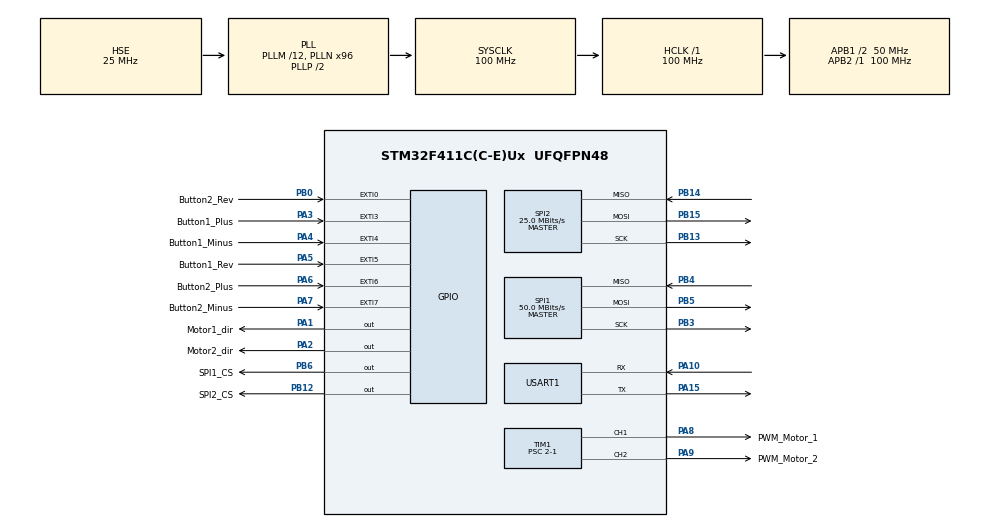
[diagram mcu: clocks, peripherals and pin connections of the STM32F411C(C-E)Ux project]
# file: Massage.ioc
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Dma.Request0=USART1_RX
Dma.Request1=USART1_TX
Dma.USART1_RX.0.Direction=DMA_PERIPH_TO_MEMORY
Dma.USART1_RX.0.FIFOMode=DMA_FIFOMODE_DISABLE
Dma.USART1_RX.0.Instance=DMA2_Stream2
Dma.USART1_RX.0.MemDataAlignment=DMA_MDATAALIGN_BYTE
Dma.USART1_RX.0.MemInc=DMA_MINC_ENABLE
Dma.USART1_RX.0.Mode=DMA_CIRCULAR
Dma.USART1_RX.0.PeriphDataAlignment=DMA_PDATAALIGN_BYTE
Dma.USART1_RX.0.PeriphInc=DMA_PINC_DISABLE
Dma.USART1_RX.0.Priority=DMA_PRIORITY_LOW
Dma.USART1_TX.1.Direction=DMA_MEMORY_TO_PERIPH
Dma.USART1_TX.1.FIFOMode=DMA_FIFOMODE_DISABLE
Dma.USART1_TX.1.Instance=DMA2_Stream7
Dma.USART1_TX.1.MemDataAlignment=DMA_MDATAALIGN_BYTE
Dma.USART1_TX.1.MemInc=DMA_MINC_ENABLE
Dma.USART1_TX.1.Mode=DMA_NORMAL
Dma.USART1_TX.1.PeriphDataAlignment=DMA_PDATAALIGN_BYTE
Dma.USART1_TX.1.PeriphInc=DMA_PINC_DISABLE
Dma.USART1_TX.1.Priority=DMA_PRIORITY_LOW
Mcu.Family=STM32F4
Mcu.Name=STM32F411C(C-E)Ux
Mcu.Package=UFQFPN48
NVIC.DMA2_Stream2_IRQn=true\:0\:0\:false\:false\:true\:false\:true
NVIC.DMA2_Stream7_IRQn=true\:0\:0\:false\:false\:true\:false\:true
NVIC.EXTI0_IRQn=true\:0\:0\:false\:false\:true\:true\:true
NVIC.EXTI3_IRQn=true\:0\:0\:false\:false\:true\:true\:true
NVIC.EXTI4_IRQn=true\:0\:0\:false\:false\:true\:true\:true
NVIC.EXTI9_5_IRQn=true\:0\:0\:false\:false\:true\:true\:true
NVIC.PriorityGroup=NVIC_PRIORITYGROUP_4
NVIC.RCC_IRQn=true\:0\:0\:false\:false\:true\:true\:false
NVIC.RTC_Alarm_IRQn=true\:0\:0\:false\:false\:true\:true\:true
NVIC.RTC_WKUP_IRQn=true\:0\:0\:false\:false\:true\:true\:true
NVIC.TIM1_UP_TIM10_IRQn=true\:0\:0\:false\:false\:true\:true\:true
NVIC.USART1_IRQn=true\:0\:0\:false\:false\:true\:true\:true
PA1.GPIO_Label=Motor1_dir
PA1.Signal=GPIO_Output
PA10.Mode=Asynchronous
PA10.Signal=USART1_RX
PA13.Mode=Serial_Wire
PA13.Signal=SYS_JTMS-SWDIO
PA14.Mode=Serial_Wire
PA14.Signal=SYS_JTCK-SWCLK
PA15.Mode=Asynchronous
PA15.Signal=USART1_TX
PA2.GPIO_Label=Motor2_dir
PA2.Signal=GPIO_Output
PA3.GPIO_Label=Button1_Plus
PA3.Signal=GPXTI3
PA4.GPIO_Label=Button1_Minus
PA4.Signal=GPXTI4
PA5.GPIO_Label=Button1_Rev
PA5.Signal=GPXTI5
PA6.GPIO_Label=Button2_Plus
PA6.Signal=GPXTI6
PA7.GPIO_Label=Button2_Minus
PA7.Signal=GPXTI7
PA8.GPIO_Label=PWM_Motor_1
PA8.Signal=S_TIM1_CH1
PA9.GPIO_Label=PWM_Motor_2
PA9.Signal=S_TIM1_CH2
PB0.GPIO_Label=Button2_Rev
PB0.Signal=GPXTI0
PB12.GPIO_Label=SPI2_CS
PB12.Signal=GPIO_Output
PB13.Mode=Full_Duplex_Master
PB13.Signal=SPI2_SCK
PB14.Mode=Full_Duplex_Master
PB14.Signal=SPI2_MISO
PB15.Mode=Full_Duplex_Master
PB15.Signal=SPI2_MOSI
PB3.Mode=Full_Duplex_Master
PB3.Signal=SPI1_SCK
PB4.Mode=Full_Duplex_Master
PB4.Signal=SPI1_MISO
PB5.Mode=Full_Duplex_Master
PB5.Signal=SPI1_MOSI
PB6.GPIO_Label=SPI1_CS
PB6.Signal=GPIO_Output
PC14-OSC32_IN.Mode=LSE-External-Oscillator
PC14-OSC32_IN.Signal=RCC_OSC32_IN
PC15-OSC32_OUT.Mode=LSE-External-Oscillator
PC15-OSC32_OUT.Signal=RCC_OSC32_OUT
PH0\ -\ OSC_IN.Mode=HSE-External-Oscillator
PH0\ -\ OSC_IN.Signal=RCC_OSC_IN
PH1\ -\ OSC_OUT.Mode=HSE-External-Oscillator
PH1\ -\ OSC_OUT.Signal=RCC_OSC_OUT
ProjectManager.HeapSize=0x200
ProjectManager.StackSize=0x400
ProjectManager.TargetToolchain=MDK-ARM V5.27
RCC.48MHZClocksFreq_Value=50000000
RCC.AHBFreq_Value=100000000
RCC.APB1CLKDivider=RCC_HCLK_DIV2
RCC.APB1Freq_Value=50000000
RCC.APB1TimFreq_Value=100000000
RCC.APB2Freq_Value=100000000
RCC.APB2TimFreq_Value=100000000
RCC.CortexFreq_Value=100000000
RCC.HCLKFreq_Value=100000000
RCC.HSE_VALUE=25000000
RCC.HSI_VALUE=16000000
RCC.PLLM=12
RCC.PLLN=96
RCC.PLLSourceVirtual=RCC_PLLSOURCE_HSE
RCC.RCC_RTC_Clock_Source=RCC_RTCCLKSOURCE_LSE
RCC.RCC_RTC_Clock_SourceVirtual=RCC_RTCCLKSOURCE_LSE
RCC.SYSCLKFreq_VALUE=100000000
RCC.SYSCLKSource=RCC_SYSCLKSOURCE_PLLCLK
RCC.VCOOutputFreq_Value=200000000
RTC.Alarm=RTC_ALARM_A
RTC.Format=RTC_FORMAT_BIN
RTC.Seconds=0
RTC.Seconds_A=0
RTC.WakeUpClock=RTC_WAKEUPCLOCK_CK_SPRE_16BITS
RTC.WakeUpCounter=60
SH.S_TIM1_CH1.0=TIM1_CH1,PWM Generation1 CH1
SH.S_TIM1_CH2.0=TIM1_CH2,PWM Generation2 CH2
SPI1.CalculateBaudRate=50.0 MBits/s
SPI1.Direction=SPI_DIRECTION_2LINES
SPI1.Mode=SPI_MODE_MASTER
SPI1.VirtualType=VM_MASTER
SPI2.BaudRatePrescaler=SPI_BAUDRATEPRESCALER_2
SPI2.CalculateBaudRate=25.0 MBits/s
SPI2.Direction=SPI_DIRECTION_2LINES
SPI2.Mode=SPI_MODE_MASTER
SPI2.VirtualType=VM_MASTER
TIM1.Channel-PWM\ Generation1\ CH1=TIM_CHANNEL_1
TIM1.Channel-PWM\ Generation2\ CH2=TIM_CHANNEL_2
TIM1.Period=50000-1
TIM1.Prescaler=2-1
USART1.VirtualMode=VM_ASYNC
VP_RTC_VS_RTC_Activate.Mode=RTC_Enabled
VP_RTC_VS_RTC_Alarm_A_Intern.Mode=Alarm A
VP_RTC_VS_RTC_Calendar.Mode=RTC_Calendar
VP_RTC_VS_RTC_WakeUp_intern.Mode=WakeUp
board=custom

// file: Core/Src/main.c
/* USER CODE BEGIN Header */
/**
  ******************************************************************************
  * @file           : main.c
  * @brief          : Main program body
  ******************************************************************************
  * @attention
  *
  * <h2><center>&copy; Copyright (c) 2021 STMicroelectronics.
  * All rights reserved.</center></h2>
  *
  * This software component is licensed by ST under BSD 3-Clause license,
  * the "License"; You may not use this file except in compliance with the
  * License. You may obtain a copy of the License at:
  *                        opensource.org/licenses/BSD-3-Clause
  *
  ******************************************************************************
  */
/* USER CODE END Header */
#include "main.h"

RTC_HandleTypeDef hrtc;

SPI_HandleTypeDef hspi1;
SPI_HandleTypeDef hspi2;

TIM_HandleTypeDef htim1;

UART_HandleTypeDef huart1;
DMA_HandleTypeDef hdma_usart1_rx;
DMA_HandleTypeDef hdma_usart1_tx;

/* USER CODE BEGIN PV */
uint8_t send_timer[8] = {0xA5, 0x5A, 0x05, 0x82, 0x03, 0x53, 0x00, 0x00};
uint8_t send_minutes1[8] = {0xA5, 0x5A, 0x05, 0x82, 0x03, 0x2D, 0x00, 0x00};
uint8_t send_hour1[8] = {0xA5, 0x5A, 0x05, 0x82, 0x03, 0x29, 0x00, 0x00};
uint8_t send_minutes2[8] = {0xA5, 0x5A, 0x05, 0x82, 0x03, 0x35, 0x00, 0x00};
uint8_t send_hour2[8] = {0xA5, 0x5A, 0x05, 0x82, 0x03, 0x31, 0x00, 0x00};

unsigned int time_minutes;

uint8_t manipul1_time;
uint8_t manipul2_time;

uint8_t wakeup_count_minutes;
uint8_t wakeup_count_hour;

unsigned int duty;
uint8_t rev;
unsigned int led;
uint8_t manipul1 = 0;
uint8_t manipul2 = 0;
uint8_t start = 0;
uint8_t stop = 0;
uint8_t day;
uint8_t month;
uint8_t year;
uint8_t hour;
uint8_t minute;

uint16_t DataBuffer[1] = {0};

uint8_t str[] = "TEST RESPONSE UART\r\n\0";
uint16_t var;

uint8_t USART_RX_STA = 0;
uint8_t USART_RX_END = 0;
uint8_t UART_RX_BUF[9] = {0};
/* USER CODE END PV */

void SystemClock_Config(void);
static void MX_GPIO_Init(void);
static void MX_DMA_Init(void);
static void MX_SPI1_Init(void);
static void MX_SPI2_Init(void);
static void MX_TIM1_Init(void);
static void MX_USART1_UART_Init(void);
static void MX_RTC_Init(void);
/* USER CODE BEGIN PFP */
RTC_AlarmTypeDef sAlarm;
RTC_TimeTypeDef sTime;
RTC_DateTypeDef sDate;
uint8_t test = 10;
/* USER CODE END PFP */

/* USER CODE BEGIN 0 */
void Clean_Buffer(void)
{
	UART_RX_BUF[0] = 0;
	UART_RX_BUF[1] = 0;
	UART_RX_BUF[2] = 0;
	UART_RX_BUF[3] = 0;
	UART_RX_BUF[4] = 0;
	UART_RX_BUF[5] = 0;
	UART_RX_BUF[6] = 0;
	UART_RX_BUF[7] = 0;
	UART_RX_BUF[8] = 0;
}

void Manipule_choose(void)         //Choose the working manipules: 1, 2 or both
{

	switch(UART_RX_BUF[5])
	{
		case 0x82:
			manipul1 = 1;
			manipul2 = 0;
			break;
		case 0x83:
			manipul2 = 1;
			manipul1 = 0;
			break;
		case 0x84:
			manipul1 = 1;
			manipul2 = 1;
			break;
		default: break;
	}
}

uint8_t speed_send[8] = {0xA5, 0x5A, 0x05, 0x82, 0x03, 0x57, 0x00, 0x00};
void Manipule_pressset(void)      //Pressets of motor speed; speed_send data send to display to indicate speed info
{
	switch(UART_RX_BUF[5])
	{
		case 0x7F:			//30%
			speed_send[7] = 0x1E;
			duty = 15000;
			led = 0xF00;
			HAL_UART_Transmit_DMA(&huart1, speed_send, 8);
		break;
		case 0x80:										//50%
			speed_send[7] = 0x32;
			duty = 25000;
			led = 0xFC00;
			HAL_UART_Transmit_DMA(&huart1, speed_send, 8);
		break;
		case 0x81:										//70%
			speed_send[7] = 0x46;
			duty = 35000;
			led = 0xFF00;
			HAL_UART_Transmit_DMA(&huart1, speed_send, 8);
		break;
		default: break;
	}
}

void PWM_Speed(void)            //PWM Motor Speed change depend on value of display indication
{
	switch(UART_RX_BUF[5])
	{
		case 0x57:
	switch(UART_RX_BUF[8])
	{
		case 0x00:									//0% speed, Duty Cycle 2%, LED indication 1
			duty = 0;
			led = 0x8000;
			speed_send[7] = 0x00;
			break;
		case 0x0A:									//10% speed, Duty Cycle 10%, LED indication 2
			duty = 5000;
			led = 0xC000;
			speed_send[7] = 0x0A;
			break;
		case 0x14:									//20% speed, Duty Cycle 20%, LED indication 3
			duty = 10000;
			led = 0xE000;
			speed_send[7] = 0x14;
			break;
		case 0x1E:									//30% speed, Duty Cycle 30%, LED indication 4
			duty = 15000;
			led = 0xF00;
			speed_send[7] = 0x1E;
			break;
		case 0x28:									//40% speed, Duty Cycle 40%, LED indication 5
			duty = 20000;
			led = 0xF800;
			speed_send[7] = 0x28;
			break;
		case 0x32:									//50% speed, Duty Cycle 50%, LED indication 6
			duty = 25000;
			led = 0xFC00;
			speed_send[7] = 0x32;
			break;
		case 0x3C:									//60% speed, Duty Cycle 60%, LED indication 7
			duty = 30000;
			led = 0xFE00;
			speed_send[7] = 0x3C;
			break;
		case 0x46:									//70% speed, Duty Cycle 70%, LED indication 8
			duty = 35000;
			led = 0xFF00;
			speed_send[7] = 0x46;
			break;
		case 0x50:									//80% speed, Duty Cycle 80%, LED indication 9
			duty = 40000;
			led = 0xFF80;
			speed_send[7] = 0x50;
			break;
		case 0x5A:									//90% speed, Duty Cycle 90%, LED indication 10
			duty = 45000;
			led = 0xFFC0;
			speed_send[7] = 0x5A;
			break;
		default: break;
	}
	break;
	default: break;
}
}

void Manipule_status(void)			//Manipule start/stop status
{

	switch(UART_RX_BUF[5])
	{
		case 0x86:
			HAL_TIM_Base_Start(&htim1);
		if (time_minutes != 0){
			if (manipul1 == 1 && manipul2 == 0){
				HAL_TIM_PWM_Start(&htim1, TIM_CHANNEL_1); }
			if (manipul2 == 1 && manipul1 == 0) {
				HAL_TIM_PWM_Start(&htim1, TIM_CHANNEL_2); }
			if (manipul1 == 1 && manipul2 == 1) {
				HAL_TIM_PWM_Start(&htim1, TIM_CHANNEL_1);
				HAL_TIM_PWM_Start(&htim1, TIM_CHANNEL_2); }
			}
				MX_RTC_Init();
				Clean_Buffer();
		start = 1;
		stop = 0;
			break;
		case 0x87:
			if (time_minutes != 0){
			HAL_TIM_Base_Stop(&htim1);
			HAL_TIM_PWM_Stop(&htim1, TIM_CHANNEL_1);
			HAL_TIM_PWM_Stop(&htim1, TIM_CHANNEL_2);
			}
			HAL_RTC_DeactivateAlarm(&hrtc, RTC_ALARM_A);
			HAL_RTCEx_DeactivateWakeUpTimer(&hrtc);
			sAlarm.AlarmTime.Minutes = 0x00;
			start = 0;
			stop = 1;
			Clean_Buffer();
			break;
		default: break;
	}
	/*
	if (start == 1 && stop == 0){
					HAL_TIM_Base_Start(&htim1);
			if (manipul1 == 1 && manipul2 == 0){
				HAL_TIM_PWM_Start(&htim1, TIM_CHANNEL_1); }
			if (manipul2 == 1 && manipul1 == 0) {
				HAL_TIM_PWM_Start(&htim1, TIM_CHANNEL_2); }
			if (manipul1 == 1 && manipul2 == 1) {
				HAL_TIM_PWM_Start(&htim1, TIM_CHANNEL_1);
				HAL_TIM_PWM_Start(&htim1, TIM_CHANNEL_2); }
			start = 1;
			stop = 0;
			}
	if (start == 0 && stop == 1) {
			HAL_TIM_Base_Stop(&htim1);
			HAL_TIM_PWM_Stop(&htim1, TIM_CHANNEL_1);
			HAL_TIM_PWM_Stop(&htim1, TIM_CHANNEL_2);
			start = 0;
			stop = 1;
	}
	*/
}

void PWM_Duty(void)			//PWM Motor speed setting signal duty cycle
{
	if (start == 1 && stop == 0){
			__HAL_TIM_SetCompare(&htim1, TIM_CHANNEL_1, duty);
			__HAL_TIM_SetCompare(&htim1, TIM_CHANNEL_2, duty);
	}
}

void Reverse_motor (void)		//Reverse function by clicking the button on display
{

		switch(UART_RX_BUF[5])
		{
			case 0x85:
			UART_RX_BUF[5] = 0;
				rev++;
				if (rev > 1){
				rev = 0;
				}
			break;
			case 0x8B:
			UART_RX_BUF[5] = 0;
				rev++;
				if (rev > 1){
				rev = 0;
			}
			default: break;
		}
}

void Reverse_Enable (void)
{
	if (rev == 1) {
		HAL_GPIO_WritePin(GPIOA, Motor1_dir_Pin, GPIO_PIN_SET);
		HAL_GPIO_WritePin(GPIOA, Motor2_dir_Pin, GPIO_PIN_SET);   //BLDC motor clockwise direction
	}
	if (rev == 0) {
		HAL_GPIO_WritePin(GPIOA, Motor1_dir_Pin, GPIO_PIN_RESET);
	  HAL_GPIO_WritePin(GPIOA, Motor2_dir_Pin, GPIO_PIN_RESET);		//BLDC motor other direction
	}
}

void SPI_LED_send(uint16_t led)			//LED indication trought SPI interface
{
		DataBuffer[0] = led;

		HAL_SPI_Transmit(&hspi1, (uint8_t*)DataBuffer, 1, 5000);
		HAL_Delay(1000);
		HAL_GPIO_WritePin(SPI1_CS_GPIO_Port, SPI1_CS_Pin, GPIO_PIN_SET);
		HAL_GPIO_WritePin(SPI1_CS_GPIO_Port, SPI1_CS_Pin, GPIO_PIN_RESET);

		HAL_SPI_Transmit(&hspi2, (uint8_t*)DataBuffer, 1, 5000);
		HAL_Delay(1000);
		HAL_GPIO_WritePin(SPI2_CS_GPIO_Port, SPI2_CS_Pin, GPIO_PIN_SET);
		HAL_GPIO_WritePin(SPI2_CS_GPIO_Port, SPI2_CS_Pin, GPIO_PIN_RESET);
}

uint8_t RTC_set_send[13] = {0xA5, 0x5A, 0x0A, 0x80, 0x1F, 0x5A, 0x00, 0x00, 0x00, 0x01, 0x00, 0x00, 0x01};

void RTC_set(void)
{
	RTC_set_send[6] = year;
	RTC_set_send[7] = month;
	RTC_set_send[8] = day;
	RTC_set_send[10] = hour;
	RTC_set_send[11] = minute;

	switch(UART_RX_BUF[5])
	{
		case 0x05:
			UART_RX_BUF[5] = 0;
			day = UART_RX_BUF[8];
			Clean_Buffer();
			break;
		case 0x19:
			UART_RX_BUF[5] = 0;
			month = UART_RX_BUF[8];
			Clean_Buffer();
			break;
		case 0x1D:
			UART_RX_BUF[5] = 0;
			year = UART_RX_BUF[8];
			Clean_Buffer();
			break;
		case 0x21:
			UART_RX_BUF[5] = 0;
			hour = UART_RX_BUF[8];
			Clean_Buffer();
			break;
		case 0x25:
			UART_RX_BUF[5] = 0;
			minute = UART_RX_BUF[8];
		  Clean_Buffer();
			break;
		case 0x89:
			HAL_UART_Transmit_DMA(&huart1, RTC_set_send, 13);
			Clean_Buffer();
			break;
		default: break;
	}

}

void Timer_Set(void)
{

	switch(UART_RX_BUF[5])
	{
		case 0x53:
				time_minutes = UART_RX_BUF[8];
				break;
		default: break;
	}
}

void Time_Counter(void)
{
	if (manipul1 == 1 && manipul2 == 0)
	{
		send_minutes1[7] = wakeup_count_minutes;
		send_hour1[7] = wakeup_count_hour;
		HAL_UART_Transmit_DMA(&huart1, send_minutes1, 8);
		HAL_UART_Transmit_DMA(&huart1, send_hour1, 8);
	}
	if (manipul1 == 0 && manipul2 == 1)
	{
		send_minutes2[7] = wakeup_count_minutes;
		send_hour2[7] = wakeup_count_hour;
		HAL_UART_Transmit_DMA(&huart1, send_minutes2, 8);
		HAL_UART_Transmit_DMA(&huart1, send_hour2, 8);
	}
	if (manipul1 == 1 && manipul2 == 1)
	{
		send_minutes1[7] = wakeup_count_minutes;
		send_hour1[7] = wakeup_count_hour;
		send_minutes2[7] = wakeup_count_minutes;
		send_hour2[7] = wakeup_count_hour;
		HAL_UART_Transmit_DMA(&huart1, send_minutes1, 8);
		HAL_UART_Transmit_DMA(&huart1, send_hour1, 8);
		HAL_UART_Transmit_DMA(&huart1, send_minutes2, 8);
		HAL_UART_Transmit_DMA(&huart1, send_hour2, 8);

	}

}

void HAL_RTCEx_WakeUpTimerEventCallback(RTC_HandleTypeDef *hrtc)
{
	wakeup_count_minutes++;
	if (time_minutes > 0){
	time_minutes--;
	}
	if (wakeup_count_minutes == 60){
		wakeup_count_minutes = 0;
		wakeup_count_hour++;
	}
}

uint8_t alarm_test;
void HAL_RTC_AlarmAEventCallback(RTC_HandleTypeDef *hrtc)
{

	sAlarm.AlarmTime.Minutes = 0;
	sAlarm.Alarm = RTC_ALARM_A;
	HAL_RTC_SetAlarm_IT(hrtc, &sAlarm, RTC_FORMAT_BIN);
	//time_minutes = 0;
	send_timer[7] = time_minutes;
	HAL_UART_Transmit_DMA(&huart1, send_timer, 8);
	HAL_TIM_PWM_Stop(&htim1, TIM_CHANNEL_1);
	HAL_TIM_PWM_Stop(&htim1, TIM_CHANNEL_2);
	alarm_test = 1;
}

void HAL_UART_TxHalfCpltCallback(UART_HandleTypeDef *huart)
{

  HAL_UART_Receive_DMA(&huart1, UART_RX_BUF, 9);

}

uint8_t speed;
uint8_t duty_button;
uint8_t counter;
uint32_t time_key1_current = 0;
uint32_t time_key1_previous = 0;
uint8_t speed_send_button[8] = {0xA5, 0x5A, 0x05, 0x82, 0x03, 0x57, 0x00, 0x00};
void HAL_GPIO_EXTI_Callback(uint16_t GPIO_Pin)
{
		time_key1_current = HAL_GetTick();
									/* BUTTON 1,2 REVERSE */
    if (GPIO_Pin == GPIO_PIN_5 && (time_key1_current - time_key1_previous > 50)){
			rev++;
			if (rev > 1){
				rev = 0;
			}
			time_key1_previous = time_key1_current;
		}
    if (GPIO_Pin == GPIO_PIN_0 && (time_key1_current - time_key1_previous > 50)){
			rev++;
			if (rev > 1){
				rev = 0;
			}
			time_key1_previous = time_key1_current;
		}
									/* BUTTON 1,2 PLUS */
    if (GPIO_Pin == GPIO_PIN_3 && (time_key1_current - time_key1_previous > 50)){
			UART_RX_BUF[5] = 0;
			UART_RX_BUF[8] = 0;
			counter++;
			duty = duty + 5000;
			speed_send[7] = speed_send[7] + 10;
			time_key1_previous = time_key1_current;
		}
    if (GPIO_Pin == GPIO_PIN_6 && (time_key1_current - time_key1_previous > 50)){
			UART_RX_BUF[5] = 0;
			UART_RX_BUF[8] = 0;
			counter++;
			duty = duty + 5000;
			speed_send[7] = speed_send[7] + 10;
			time_key1_previous = time_key1_current;
		}
									/* BUTTON 1,2 MINUS */
    if (GPIO_Pin == GPIO_PIN_4 && (time_key1_current - time_key1_previous > 50)){
			UART_RX_BUF[5] = 0;
			UART_RX_BUF[8] = 0;
			counter--;
			duty = duty - 5000;
			speed_send[7] = speed_send[7] - 10;
			time_key1_previous = time_key1_current;
		}
    if (GPIO_Pin == GPIO_PIN_7 && (time_key1_current - time_key1_previous > 50)){
			UART_RX_BUF[5] = 0;
			UART_RX_BUF[8] = 0;
			counter--;
			duty = duty - 5000;
			speed_send[7] = speed_send[7] - 10;
			time_key1_previous = time_key1_current;
		}
}

/* USER CODE END 0 */

int main(void)
{

  /* MCU Configuration--------------------------------------------------------*/

  /* Reset of all peripherals, Initializes the Flash interface and the Systick. */
  HAL_Init();

  /* Configure the system clock */
  SystemClock_Config();

  /* Initialize all configured peripherals */
  MX_GPIO_Init();
  MX_DMA_Init();

  MX_SPI1_Init();
  MX_SPI2_Init();
  MX_TIM1_Init();
  MX_USART1_UART_Init();

  /* Infinite loop */
  while (1)
  {

    /* USER CODE BEGIN 3 */
		HAL_UART_Receive_DMA(&huart1, UART_RX_BUF, 9);

		Timer_Set();
		Manipule_status();
		var = HAL_RTCEx_GetWakeUpTimer(&hrtc);

		Manipule_choose();
		Manipule_pressset();
		PWM_Speed();
		PWM_Duty();
		Reverse_motor();
		Reverse_Enable();

		RTC_set();

		Timer_Set();
		//Time_Counter();

		send_timer[7] = time_minutes;
		HAL_UART_Transmit_DMA(&huart1, send_timer, 8);

		if (speed_send[7] > 90) {speed_send[7] = 90;}
		if (duty > 45000) {duty = 45000;}
		if (speed_send[7] <= 0) {speed_send[7] = 0;}
		if (duty <= 0) {duty = 0;}
		HAL_UART_Transmit_DMA(&huart1, speed_send, 8);

	}
}

void SystemClock_Config(void)
{
  RCC_OscInitTypeDef RCC_OscInitStruct = {0};
  RCC_ClkInitTypeDef RCC_ClkInitStruct = {0};
  RCC_PeriphCLKInitTypeDef PeriphClkInitStruct = {0};

  /** Configure the main internal regulator output voltage
  */
  __HAL_RCC_PWR_CLK_ENABLE();
  __HAL_PWR_VOLTAGESCALING_CONFIG(PWR_REGULATOR_VOLTAGE_SCALE1);
  /** Initializes the RCC Oscillators according to the specified parameters
  * in the RCC_OscInitTypeDef structure.
  */
  RCC_OscInitStruct.OscillatorType = RCC_OSCILLATORTYPE_HSE|RCC_OSCILLATORTYPE_LSE;
  RCC_OscInitStruct.HSEState = RCC_HSE_ON;
  RCC_OscInitStruct.LSEState = RCC_LSE_ON;
  RCC_OscInitStruct.PLL.PLLState = RCC_PLL_ON;
  RCC_OscInitStruct.PLL.PLLSource = RCC_PLLSOURCE_HSE;
  RCC_OscInitStruct.PLL.PLLM = 12;
  RCC_OscInitStruct.PLL.PLLN = 96;
  RCC_OscInitStruct.PLL.PLLP = RCC_PLLP_DIV2;
  RCC_OscInitStruct.PLL.PLLQ = 4;
  if (HAL_RCC_OscConfig(&RCC_OscInitStruct) != HAL_OK)
  {
    Error_Handler();
  }
  /** Initializes the CPU, AHB and APB buses clocks
  */
  RCC_ClkInitStruct.ClockType = RCC_CLOCKTYPE_HCLK|RCC_CLOCKTYPE_SYSCLK
                              |RCC_CLOCKTYPE_PCLK1|RCC_CLOCKTYPE_PCLK2;
  RCC_ClkInitStruct.SYSCLKSource = RCC_SYSCLKSOURCE_PLLCLK;
  RCC_ClkInitStruct.AHBCLKDivider = RCC_SYSCLK_DIV1;
  RCC_ClkInitStruct.APB1CLKDivider = RCC_HCLK_DIV2;
  RCC_ClkInitStruct.APB2CLKDivider = RCC_HCLK_DIV1;

  if (HAL_RCC_ClockConfig(&RCC_ClkInitStruct, FLASH_LATENCY_3) != HAL_OK)
  {
    Error_Handler();
  }
  PeriphClkInitStruct.PeriphClockSelection = RCC_PERIPHCLK_RTC;
  PeriphClkInitStruct.RTCClockSelection = RCC_RTCCLKSOURCE_LSE;
  if (HAL_RCCEx_PeriphCLKConfig(&PeriphClkInitStruct) != HAL_OK)
  {
    Error_Handler();
  }
}

static void MX_RTC_Init(void)
{

  /** Initialize RTC Only
  */
  hrtc.Instance = RTC;
  hrtc.Init.HourFormat = RTC_HOURFORMAT_24;
  hrtc.Init.AsynchPrediv = 127;
  hrtc.Init.SynchPrediv = 255;
  hrtc.Init.OutPut = RTC_OUTPUT_DISABLE;
  hrtc.Init.OutPutPolarity = RTC_OUTPUT_POLARITY_HIGH;
  hrtc.Init.OutPutType = RTC_OUTPUT_TYPE_OPENDRAIN;
  if (HAL_RTC_Init(&hrtc) != HAL_OK)
  {
    Error_Handler();
  }

  /** Initialize RTC and set the Time and Date
  */
  sTime.Hours = 0;
  sTime.Minutes = 0;
  sTime.Seconds = 0;
  sTime.DayLightSaving = RTC_DAYLIGHTSAVING_NONE;
  sTime.StoreOperation = RTC_STOREOPERATION_RESET;
  if (HAL_RTC_SetTime(&hrtc, &sTime, RTC_FORMAT_BIN) != HAL_OK)
  {
    Error_Handler();
  }
  sDate.WeekDay = RTC_WEEKDAY_MONDAY;
  sDate.Month = RTC_MONTH_JANUARY;
  sDate.Date = 1;
  sDate.Year = 0;

  if (HAL_RTC_SetDate(&hrtc, &sDate, RTC_FORMAT_BIN) != HAL_OK)
  {
    Error_Handler();
  }
  /** Enable the Alarm A
  */
  sAlarm.AlarmTime.Hours = 0;
  sAlarm.AlarmTime.Minutes = time_minutes;
  sAlarm.AlarmTime.Seconds = 0;
  sAlarm.AlarmTime.SubSeconds = 0;
  sAlarm.AlarmTime.DayLightSaving = RTC_DAYLIGHTSAVING_NONE;
  sAlarm.AlarmTime.StoreOperation = RTC_STOREOPERATION_RESET;
  sAlarm.AlarmMask = RTC_ALARMMASK_NONE;
  sAlarm.AlarmSubSecondMask = RTC_ALARMSUBSECONDMASK_ALL;
  sAlarm.AlarmDateWeekDaySel = RTC_ALARMDATEWEEKDAYSEL_DATE;
  sAlarm.AlarmDateWeekDay = 1;
  sAlarm.Alarm = RTC_ALARM_A;
  if (HAL_RTC_SetAlarm_IT(&hrtc, &sAlarm, RTC_FORMAT_BIN) != HAL_OK)
  {
    Error_Handler();
  }
  /** Enable the WakeUp
  */
  if (HAL_RTCEx_SetWakeUpTimer_IT(&hrtc, 60, RTC_WAKEUPCLOCK_CK_SPRE_16BITS) != HAL_OK)
  {
    Error_Handler();
  }

}

static void MX_SPI1_Init(void)
{

  /* SPI1 parameter configuration*/
  hspi1.Instance = SPI1;
  hspi1.Init.Mode = SPI_MODE_MASTER;
  hspi1.Init.Direction = SPI_DIRECTION_2LINES;
  hspi1.Init.DataSize = SPI_DATASIZE_8BIT;
  hspi1.Init.CLKPolarity = SPI_POLARITY_LOW;
  hspi1.Init.CLKPhase = SPI_PHASE_1EDGE;
  hspi1.Init.NSS = SPI_NSS_SOFT;
  hspi1.Init.BaudRatePrescaler = SPI_BAUDRATEPRESCALER_2;
  hspi1.Init.FirstBit = SPI_FIRSTBIT_MSB;
  hspi1.Init.TIMode = SPI_TIMODE_DISABLE;
  hspi1.Init.CRCCalculation = SPI_CRCCALCULATION_DISABLE;
  hspi1.Init.CRCPolynomial = 10;
  if (HAL_SPI_Init(&hspi1) != HAL_OK)
  {
    Error_Handler();
  }

}

static void MX_SPI2_Init(void)
{

  /* SPI2 parameter configuration*/
  hspi2.Instance = SPI2;
  hspi2.Init.Mode = SPI_MODE_MASTER;
  hspi2.Init.Direction = SPI_DIRECTION_2LINES;
  hspi2.Init.DataSize = SPI_DATASIZE_8BIT;
  hspi2.Init.CLKPolarity = SPI_POLARITY_LOW;
  hspi2.Init.CLKPhase = SPI_PHASE_1EDGE;
  hspi2.Init.NSS = SPI_NSS_SOFT;
  hspi2.Init.BaudRatePrescaler = SPI_BAUDRATEPRESCALER_2;
  hspi2.Init.FirstBit = SPI_FIRSTBIT_MSB;
  hspi2.Init.TIMode = SPI_TIMODE_DISABLE;
  hspi2.Init.CRCCalculation = SPI_CRCCALCULATION_DISABLE;
  hspi2.Init.CRCPolynomial = 10;
  if (HAL_SPI_Init(&hspi2) != HAL_OK)
  {
    Error_Handler();
  }

}

static void MX_TIM1_Init(void)
{

  TIM_MasterConfigTypeDef sMasterConfig = {0};
  TIM_OC_InitTypeDef sConfigOC = {0};
  TIM_BreakDeadTimeConfigTypeDef sBreakDeadTimeConfig = {0};

  htim1.Instance = TIM1;
  htim1.Init.Prescaler = 2-1;
  htim1.Init.CounterMode = TIM_COUNTERMODE_UP;
  htim1.Init.Period = 50000-1;
  htim1.Init.ClockDivision = TIM_CLOCKDIVISION_DIV1;
  htim1.Init.RepetitionCounter = 0;
  htim1.Init.AutoReloadPreload = TIM_AUTORELOAD_PRELOAD_DISABLE;
  if (HAL_TIM_PWM_Init(&htim1) != HAL_OK)
  {
    Error_Handler();
  }
  sMasterConfig.MasterOutputTrigger = TIM_TRGO_RESET;
  sMasterConfig.MasterSlaveMode = TIM_MASTERSLAVEMODE_DISABLE;
  if (HAL_TIMEx_MasterConfigSynchronization(&htim1, &sMasterConfig) != HAL_OK)
  {
    Error_Handler();
  }
  sConfigOC.OCMode = TIM_OCMODE_PWM1;
  sConfigOC.Pulse = 0;
  sConfigOC.OCPolarity = TIM_OCPOLARITY_HIGH;
  sConfigOC.OCNPolarity = TIM_OCNPOLARITY_HIGH;
  sConfigOC.OCFastMode = TIM_OCFAST_DISABLE;
  sConfigOC.OCIdleState = TIM_OCIDLESTATE_RESET;
  sConfigOC.OCNIdleState = TIM_OCNIDLESTATE_RESET;
  if (HAL_TIM_PWM_ConfigChannel(&htim1, &sConfigOC, TIM_CHANNEL_1) != HAL_OK)
  {
    Error_Handler();
  }
  if (HAL_TIM_PWM_ConfigChannel(&htim1, &sConfigOC, TIM_CHANNEL_2) != HAL_OK)
  {
    Error_Handler();
  }
  sBreakDeadTimeConfig.OffStateRunMode = TIM_OSSR_DISABLE;
  sBreakDeadTimeConfig.OffStateIDLEMode = TIM_OSSI_DISABLE;
  sBreakDeadTimeConfig.LockLevel = TIM_LOCKLEVEL_OFF;
  sBreakDeadTimeConfig.DeadTime = 0;
  sBreakDeadTimeConfig.BreakState = TIM_BREAK_DISABLE;
  sBreakDeadTimeConfig.BreakPolarity = TIM_BREAKPOLARITY_HIGH;
  sBreakDeadTimeConfig.AutomaticOutput = TIM_AUTOMATICOUTPUT_DISABLE;
  if (HAL_TIMEx_ConfigBreakDeadTime(&htim1, &sBreakDeadTimeConfig) != HAL_OK)
  {
    Error_Handler();
  }
  HAL_TIM_MspPostInit(&htim1);

}

static void MX_USART1_UART_Init(void)
{

  huart1.Instance = USART1;
  huart1.Init.BaudRate = 115200;
  huart1.Init.WordLength = UART_WORDLENGTH_8B;
  huart1.Init.StopBits = UART_STOPBITS_1;
  huart1.Init.Parity = UART_PARITY_NONE;
  huart1.Init.Mode = UART_MODE_TX_RX;
  huart1.Init.HwFlowCtl = UART_HWCONTROL_NONE;
  huart1.Init.OverSampling = UART_OVERSAMPLING_16;
  if (HAL_UART_Init(&huart1) != HAL_OK)
  {
    Error_Handler();
  }

}

static void MX_DMA_Init(void)
{

  /* DMA controller clock enable */
  __HAL_RCC_DMA2_CLK_ENABLE();

  /* DMA interrupt init */
  /* DMA2_Stream2_IRQn interrupt configuration */
  HAL_NVIC_SetPriority(DMA2_Stream2_IRQn, 0, 0);
  HAL_NVIC_EnableIRQ(DMA2_Stream2_IRQn);
  /* DMA2_Stream7_IRQn interrupt configuration */
  HAL_NVIC_SetPriority(DMA2_Stream7_IRQn, 0, 0);
  HAL_NVIC_EnableIRQ(DMA2_Stream7_IRQn);

}

static void MX_GPIO_Init(void)
{
  GPIO_InitTypeDef GPIO_InitStruct = {0};

  /* GPIO Ports Clock Enable */
  __HAL_RCC_GPIOC_CLK_ENABLE();
  __HAL_RCC_GPIOH_CLK_ENABLE();
  __HAL_RCC_GPIOA_CLK_ENABLE();
  __HAL_RCC_GPIOB_CLK_ENABLE();

  /*Configure GPIO pin Output Level */
  HAL_GPIO_WritePin(GPIOA, Motor1_dir_Pin|Motor2_dir_Pin, GPIO_PIN_RESET);

  /*Configure GPIO pin Output Level */
  HAL_GPIO_WritePin(GPIOB, SPI2_CS_Pin|SPI1_CS_Pin, GPIO_PIN_RESET);

  /*Configure GPIO pins : Motor1_dir_Pin Motor2_dir_Pin */
  GPIO_InitStruct.Pin = Motor1_dir_Pin|Motor2_dir_Pin;
  GPIO_InitStruct.Mode = GPIO_MODE_OUTPUT_PP;
  GPIO_InitStruct.Pull = GPIO_NOPULL;
  GPIO_InitStruct.Speed = GPIO_SPEED_FREQ_LOW;
  HAL_GPIO_Init(GPIOA, &GPIO_InitStruct);

  /*Configure GPIO pins : Button1_Plus_Pin Button1_Minus_Pin Button1_Rev_Pin Button2_Plus_Pin
                           Button2_Minus_Pin */
  GPIO_InitStruct.Pin = Button1_Plus_Pin|Button1_Minus_Pin|Button1_Rev_Pin|Button2_Plus_Pin
                          |Button2_Minus_Pin;
  GPIO_InitStruct.Mode = GPIO_MODE_IT_RISING;
  GPIO_InitStruct.Pull = GPIO_NOPULL;
  HAL_GPIO_Init(GPIOA, &GPIO_InitStruct);

  /*Configure GPIO pin : Button2_Rev_Pin */
  GPIO_InitStruct.Pin = Button2_Rev_Pin;
  GPIO_InitStruct.Mode = GPIO_MODE_IT_RISING;
  GPIO_InitStruct.Pull = GPIO_NOPULL;
  HAL_GPIO_Init(Button2_Rev_GPIO_Port, &GPIO_InitStruct);

  /*Configure GPIO pins : SPI2_CS_Pin SPI1_CS_Pin */
  GPIO_InitStruct.Pin = SPI2_CS_Pin|SPI1_CS_Pin;
  GPIO_InitStruct.Mode = GPIO_MODE_OUTPUT_PP;
  GPIO_InitStruct.Pull = GPIO_NOPULL;
  GPIO_InitStruct.Speed = GPIO_SPEED_FREQ_LOW;
  HAL_GPIO_Init(GPIOB, &GPIO_InitStruct);

  /* EXTI interrupt init*/
  HAL_NVIC_SetPriority(EXTI0_IRQn, 0, 0);
  HAL_NVIC_EnableIRQ(EXTI0_IRQn);

  HAL_NVIC_SetPriority(EXTI3_IRQn, 0, 0);
  HAL_NVIC_EnableIRQ(EXTI3_IRQn);

  HAL_NVIC_SetPriority(EXTI4_IRQn, 0, 0);
  HAL_NVIC_EnableIRQ(EXTI4_IRQn);

  HAL_NVIC_SetPriority(EXTI9_5_IRQn, 0, 0);
  HAL_NVIC_EnableIRQ(EXTI9_5_IRQn);

}

void Error_Handler(void)
{
}

/************************ (C) COPYRIGHT STMicroelectronics *****END OF FILE****/
